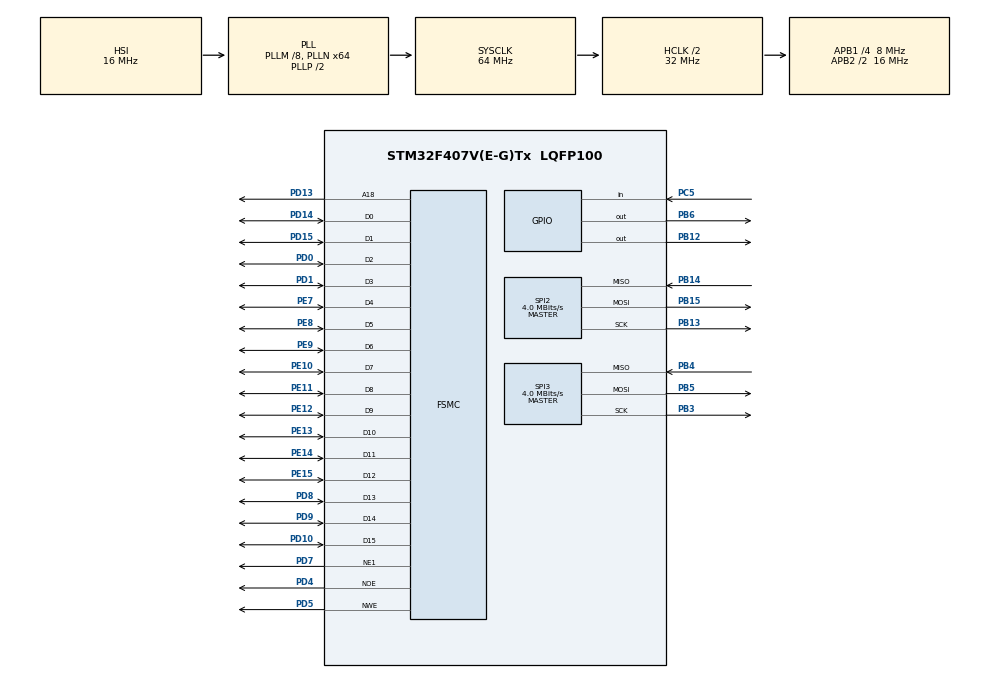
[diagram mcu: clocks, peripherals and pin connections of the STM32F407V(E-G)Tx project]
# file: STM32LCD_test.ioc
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FSMC.AddressSetupTime1=0
FSMC.BusTurnAroundDuration1=0
FSMC.DataSetupTime1=1
FSMC.WriteOperation1=FSMC_WRITE_OPERATION_ENABLE
Mcu.Family=STM32F4
Mcu.Name=STM32F407V(E-G)Tx
Mcu.Package=LQFP100
NVIC.PriorityGroup=NVIC_PRIORITYGROUP_4
PB12.Signal=GPIO_Output
PB13.Mode=Full_Duplex_Master
PB13.Signal=SPI2_SCK
PB14.Mode=Full_Duplex_Master
PB14.Signal=SPI2_MISO
PB15.Mode=Full_Duplex_Master
PB15.Signal=SPI2_MOSI
PB3.Mode=Full_Duplex_Master
PB3.Signal=SPI3_SCK
PB4.Mode=Full_Duplex_Master
PB4.Signal=SPI3_MISO
PB5.Mode=Full_Duplex_Master
PB5.Signal=SPI3_MOSI
PB6.Signal=GPIO_Output
PC14-OSC32_IN.Mode=LSE-External-Oscillator
PC14-OSC32_IN.Signal=RCC_OSC32_IN
PC15-OSC32_OUT.Mode=LSE-External-Oscillator
PC15-OSC32_OUT.Signal=RCC_OSC32_OUT
PC5.Signal=GPIO_Input
PD0.Mode=16b-d1
PD0.Signal=FSMC_D2
PD1.Mode=16b-d1
PD1.Signal=FSMC_D3
PD10.Mode=16b-d1
PD10.Signal=FSMC_D15
PD13.Mode=A18_1
PD13.Signal=FSMC_A18
PD14.Mode=16b-d1
PD14.Signal=FSMC_D0
PD15.Mode=16b-d1
PD15.Signal=FSMC_D1
PD4.Mode=Lcd1
PD4.Signal=FSMC_NOE
PD5.Mode=Lcd1
PD5.Signal=FSMC_NWE
PD7.Mode=NorPsramChipSelect1_1
PD7.Signal=FSMC_NE1
PD8.Mode=16b-d1
PD8.Signal=FSMC_D13
PD9.Mode=16b-d1
PD9.Signal=FSMC_D14
PE10.Mode=16b-d1
PE10.Signal=FSMC_D7
PE11.Mode=16b-d1
PE11.Signal=FSMC_D8
PE12.Mode=16b-d1
PE12.Signal=FSMC_D9
PE13.Mode=16b-d1
PE13.Signal=FSMC_D10
PE14.Mode=16b-d1
PE14.Signal=FSMC_D11
PE15.Mode=16b-d1
PE15.Signal=FSMC_D12
PE7.Mode=16b-d1
PE7.Signal=FSMC_D4
PE8.Mode=16b-d1
PE8.Signal=FSMC_D5
PE9.Mode=16b-d1
PE9.Signal=FSMC_D6
ProjectManager.HeapSize=0x200
ProjectManager.StackSize=0x400
ProjectManager.TargetToolchain=STM32CubeIDE
RCC.48MHZClocksFreq_Value=32000000
RCC.AHBCLKDivider=RCC_SYSCLK_DIV2
RCC.AHBFreq_Value=32000000
RCC.APB1CLKDivider=RCC_HCLK_DIV4
RCC.APB1Freq_Value=8000000
RCC.APB1TimFreq_Value=16000000
RCC.APB2CLKDivider=RCC_HCLK_DIV2
RCC.APB2Freq_Value=16000000
RCC.APB2TimFreq_Value=32000000
RCC.CortexFreq_Value=32000000
RCC.HCLKFreq_Value=32000000
RCC.HSE_VALUE=25000000
RCC.HSI_VALUE=16000000
RCC.PLLM=8
RCC.PLLN=64
RCC.RCC_RTC_Clock_Source=RCC_RTCCLKSOURCE_LSE
RCC.RCC_RTC_Clock_SourceVirtual=RCC_RTCCLKSOURCE_LSE
RCC.SYSCLKFreq_VALUE=64000000
RCC.SYSCLKSource=RCC_SYSCLKSOURCE_PLLCLK
RCC.VCOOutputFreq_Value=128000000
SPI2.BaudRatePrescaler=SPI_BAUDRATEPRESCALER_2
SPI2.CalculateBaudRate=4.0 MBits/s
SPI2.Direction=SPI_DIRECTION_2LINES
SPI2.Mode=SPI_MODE_MASTER
SPI2.VirtualType=VM_MASTER
SPI3.CalculateBaudRate=4.0 MBits/s
SPI3.Direction=SPI_DIRECTION_2LINES
SPI3.Mode=SPI_MODE_MASTER
SPI3.VirtualType=VM_MASTER
VP_RTC_VS_RTC_Activate.Mode=RTC_Enabled
VP_RTC_VS_RTC_Calendar.Mode=RTC_Calendar
board=custom

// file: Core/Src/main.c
/* USER CODE BEGIN Header */
/**
  ******************************************************************************
  * @file           : main.c
  * @brief          : Main program body
  ******************************************************************************
  * @attention
  *
  * Copyright (c) 2026 STMicroelectronics.
  * All rights reserved.
  *
  * This software is licensed under terms that can be found in the LICENSE file
  * in the root directory of this software component.
  * If no LICENSE file comes with this software, it is provided AS-IS.
  *
  ******************************************************************************
  */
/* USER CODE END Header */
#include "main.h"

/* USER CODE BEGIN Includes */
#include "display/ili9341.h"
#include "display/image.h"
#include "lvgl.h"
#include "lv_port_indev.h"
#include "lv_port_disp.h"
#include "ui.h"
#include "touch/xpt2046.h"
#include "serialmemory/w25qxx.h"
#include <stdio.h>
#include <string.h>

/* USER CODE END Includes */

/* USER CODE BEGIN PD */
#define PAGE_SIZE 4096
#define RUN_TESTS 1

/* USER CODE END PD */

RTC_HandleTypeDef hrtc;

SPI_HandleTypeDef hspi2;
SPI_HandleTypeDef hspi3;

SRAM_HandleTypeDef hsram1;

/* USER CODE BEGIN PV */

W25QXX_HandleTypeDef w25qxx; // Handler for all w25qxx operations!
/* USER CODE END PV */

void SystemClock_Config(void);
static void MX_GPIO_Init(void);
static void MX_FSMC_Init(void);
static void MX_SPI2_Init(void);
static void MX_RTC_Init(void);
static void MX_SPI3_Init(void);
/* USER CODE BEGIN PFP */
static void serialmempory_init(void);
static void rtc_set_datetime(void);
static void rtc_lvgl_timer_cb(lv_timer_t *timer);

void runTests(void);
void dump_hex(char *header, uint32_t start, uint8_t *buf, uint32_t len);
void fill_buffer(uint8_t pattern, uint8_t *buf, uint32_t len);

/* USER CODE END PFP */

/* USER CODE BEGIN 0 */
// Dump hex to serial console
void dump_hex(char *header, uint32_t start, uint8_t *buf, uint32_t len) {
    uint32_t i = 0;

    printf("%s\n", header);

    for (i = 0; i < len; ++i) {

        if (i % 16 == 0) {
            printf("0x%08lx: ", start);
        }

        printf("%02x ", buf[i]);

        if ((i + 1) % 16 == 0) {
            printf("\n");
        }

        ++start;
    }
}

void fill_buffer(uint8_t pattern, uint8_t *buf, uint32_t len) {
    switch (pattern) {
    case 0:
        memset(buf, 0, len);
        break;
    case 1:
        memset(buf, 0xaa, len); // 10101010
        break;
    case 2:
        for (uint32_t i = 0; i < len; ++i)
            buf[i] = i % 256;
        break;
    default:
        DBG("Programmer is a moron");
    }
}

uint8_t check_buffer(uint8_t pattern, uint8_t *buf, uint32_t len) {

    uint8_t ret = 1;

    switch (pattern) {
    case 0:
        for (uint32_t i = 0; i < len; ++i) {
            if (buf[i] != 0)
                ret = 0;
        }
        break;
    case 1:
        for (uint32_t i = 0; i < len; ++i) {
            if (buf[i] != 0xaa)
                ret = 0;
        }
        break;
    case 2:
        for (uint32_t i = 0; i < len; ++i) {
            if (buf[i] != i % 256)
                ret = 0;
        }
        break;
    default:
        DBG("Programmer is a moron");
    }

    return ret;
}

uint32_t get_sum(uint8_t *buf, uint32_t len) {
    uint32_t sum = 0;
    for (uint32_t i = 0; i < len; ++i) {
        sum += buf[i];
    }
    return sum;
}
void runTests(void) {
	  W25QXX_result_t res;

		HAL_Delay(2000);

		uint8_t buf[PAGE_SIZE]; // Buffer the size of a page

		for (uint8_t run = 0; run <= 2; ++run) {

			DBG("\n-------------\nRun %d\n", run);

			DBG("Reading first page");

			res = w25qxx_read(&w25qxx, 0, (uint8_t*) &buf, sizeof(buf));
			if (res == W25QXX_Ok) {
				dump_hex("First page at start", 0, (uint8_t*) &buf, sizeof(buf));
			} else {
				DBG("Unable to read w25qxx\n");
			}

			DBG("Erasing first page");
			if (w25qxx_erase(&w25qxx, 0, sizeof(buf)) == W25QXX_Ok) {
				DBG("Reading first page\n");
				if (w25qxx_read(&w25qxx, 0, (uint8_t*) &buf, sizeof(buf)) == W25QXX_Ok) {
					dump_hex("After erase", 0, (uint8_t*) &buf, sizeof(buf));
				}
			}

			// Create a well known pattern
			fill_buffer(run, buf, sizeof(buf));

			// Write it to device
			DBG("Writing first page\n");
			if (w25qxx_write(&w25qxx, 0, (uint8_t*) &buf, sizeof(buf)) == W25QXX_Ok) {
				// now read it back
				DBG("Reading first page\n");
				if (w25qxx_read(&w25qxx, 0, (uint8_t*) &buf, sizeof(buf)) == W25QXX_Ok) {
					//DBG("  - sum = %lu", get_sum(buf, 256));
					dump_hex("After write", 0, (uint8_t*) &buf, sizeof(buf));
				}
			}
		}

		// Let's do a stress test
		uint32_t start;
		uint32_t sectors = w25qxx.block_count * w25qxx.sectors_in_block; // Entire chip

		DBG("Stress testing w25qxx device: sectors = %lu\n", sectors);

		DBG("Doing chip erase\n");
		start = HAL_GetTick();
		w25qxx_chip_erase(&w25qxx);
		DBG("Done erasing - took %lu ms\n", HAL_GetTick() - start);

		fill_buffer(0, buf, sizeof(buf));

		DBG("Writing all zeroes %lu sectors\n", sectors);
		start = HAL_GetTick();
		for (uint32_t i = 0; i < sectors; ++i) {
			w25qxx_write(&w25qxx, i * w25qxx.sector_size, buf, sizeof(buf));
		}
		DBG("Done writing - took %lu ms\n", HAL_GetTick() - start);

		DBG("Reading %lu sectors\n", sectors);
		start = HAL_GetTick();
		for (uint32_t i = 0; i < sectors; ++i) {
			w25qxx_read(&w25qxx, i * w25qxx.sector_size, buf, sizeof(buf));
		}
		DBG("Done reading - took %lu ms\n", HAL_GetTick() - start);

		DBG("Validating buffer .... ");
		if (check_buffer(0, buf, sizeof(buf))) {
			DBG("OK\n");
		} else {
			DBG("Not OK\n");
		}

		DBG("Doing chip erase\n");
		start = HAL_GetTick();
		w25qxx_chip_erase(&w25qxx);
		DBG("Done erasing - took %lu ms\n", HAL_GetTick() - start);

		fill_buffer(1, buf, sizeof(buf));

		DBG("Writing 10101010 (0xaa) %lu sectors\n", sectors);
		start = HAL_GetTick();
		for (uint32_t i = 0; i < sectors; ++i) {
			w25qxx_write(&w25qxx, i * w25qxx.sector_size, buf, sizeof(buf));
		}
		DBG("Done writing - took %lu ms\n", HAL_GetTick() - start);

		DBG("Reading %lu sectors\n", sectors);
		start = HAL_GetTick();
		for (uint32_t i = 0; i < sectors; ++i) {
			w25qxx_read(&w25qxx, i * w25qxx.sector_size, buf, sizeof(buf));
		}
		DBG("Done reading - took %lu ms\n", HAL_GetTick() - start);

		DBG("Validating buffer ... ");
		if (check_buffer(1, buf, sizeof(buf))) {
			DBG("OK\n");
		} else {
			DBG("Not OK\n");
		}

		DBG("Erasing %lu sectors sequentially\n", sectors);
		start = HAL_GetTick();
		for (uint32_t i = 0; i < sectors; ++i) {
			w25qxx_erase(&w25qxx, i * w25qxx.sector_size, sizeof(buf));
			if ((i > 0) && (i % 100 == 0)) {
				DBG("Done %4lu sectors - total time = %3lu s\n", i, (HAL_GetTick() - start) / 1000);
			}
		}
		DBG("Done erasing - took %lu ms\n", HAL_GetTick() - start);

}
static void serialmempory_initr(void)
{
	char readBuffer[PAGE_SIZE] = {0x00};
	  W25QXX_result_t res;

	  res = w25qxx_init(&w25qxx, &hspi3, SPI3_CS_GPIO_Port, SPI3_CS_Pin);
	  if (res == W25QXX_Ok) {
		  DBG("W25QXX successfully initialized\n");
		  DBG("Manufacturer       = 0x%2x\n", w25qxx.manufacturer_id);
		  DBG("Device             = 0x%4x\n", w25qxx.device_id);
		  DBG("Block size         = 0x%04lx (%lu)\n", w25qxx.block_size, w25qxx.block_size);
		  DBG("Block count        = 0x%04lx (%lu)\n", w25qxx.block_count, w25qxx.block_count);
		  DBG("Sector size        = 0x%04lx (%lu)\n", w25qxx.sector_size, w25qxx.sector_size);
		  DBG("Sectors per block  = 0x%04lx (%lu)\n", w25qxx.sectors_in_block, w25qxx.sectors_in_block);
		  DBG("Page size          = 0x%04lx (%lu)\n", w25qxx.page_size, w25qxx.page_size);
		  DBG("Pages per sector   = 0x%04lx (%lu)\n", w25qxx.pages_in_sector, w25qxx.pages_in_sector);
		  DBG("Total size (in kB) = 0x%04lx (%lu)\n",
				  (w25qxx.block_count * w25qxx.block_size) / 1024, (w25qxx.block_count * w25qxx.block_size) / 1024);
		  DBG("Total size (in Bytes) = 0x%04lx (%lu)\n",
				  (w25qxx.block_count * w25qxx.block_size), (w25qxx.block_count * w25qxx.block_size));
	  } else {
		  DBG("Unable to initialize w25qxx\n");
	  }

	#ifdef RUN_TESTS
	  runTests();
	#else
	#define PARAGRAPH small_paragraph

	  int len = strlen(PARAGRAPH);

	  res = w25qxx_write(&w25qxx, (uint32_t) 0x02321, (uint8_t *) PARAGRAPH, len);

	  if (res != W25QXX_Ok) {
		  Error_Handler();
	  } else {
		  printf("No Errors! Completed writing %d bytes of small paragraph!\r\n", len);
	  }

	  res = w25qxx_read(&w25qxx, (uint32_t) 0x02321, (uint8_t *) &readBuffer, len);

	  if (res != W25QXX_Ok) {
		  Error_Handler();
	  } else {
		  printf("No Errors! Completed reading %d bytes of memory containing small paragraph!\r\n\r\n", len);
		  printf(readBuffer);
		  fflush(stdout);
	  }
	#endif
}
static void rtc_set_datetime()
{
	RTC_TimeTypeDef sTime = {0};
	RTC_DateTypeDef sDate = {0};

	sTime.Hours = 13;
	sTime.Minutes = 33;
	sTime.Seconds = 32;
	sTime.DayLightSaving = RTC_DAYLIGHTSAVING_NONE;
	sTime.StoreOperation = RTC_STOREOPERATION_RESET;
	if (HAL_RTC_SetTime(&hrtc, &sTime, RTC_FORMAT_BIN) != HAL_OK)
	{
		Error_Handler();
	}

	sDate.WeekDay = RTC_WEEKDAY_FRIDAY;
	sDate.Month = RTC_MONTH_JANUARY;
	sDate.Date = 16;
	sDate.Year = 26;

	if (HAL_RTC_SetDate(&hrtc, &sDate, RTC_FORMAT_BIN) != HAL_OK)
	{
		Error_Handler();
	}
}
static void rtc_lvgl_timer_cb(lv_timer_t *timer)
{
    RTC_TimeTypeDef time;
    RTC_DateTypeDef date;
    char buf[32];

    /* OBRIGATÓRIO: primeiro Time, depois Date */
    HAL_RTC_GetTime(&hrtc, &time, RTC_FORMAT_BIN);
    HAL_RTC_GetDate(&hrtc, &date, RTC_FORMAT_BIN);

    snprintf(buf, sizeof(buf),
             "%02d/%02d/20%02d  %02d:%02d:%02d",
             date.Date,
             date.Month,
             date.Year,
             time.Hours,
             time.Minutes,
             time.Seconds);

    lv_label_set_text(objects.lb_name, buf);
}
void action_cmd_main_clicked(lv_event_t * event)
{
	lv_label_set_text(objects.lb_name,  "Clicked");
	printf("Clicked\n");
}

/* USER CODE END 0 */

int main(void)
{

  /* USER CODE BEGIN 1 */
  uint16_t x = 0, y = 0;
  /* USER CODE END 1 */

  /* MCU Configuration--------------------------------------------------------*/

  /* Reset of all peripherals, Initializes the Flash interface and the Systick. */
  HAL_Init();

  /* Configure the system clock */
  SystemClock_Config();

  /* Initialize all configured peripherals */
  MX_GPIO_Init();
  MX_FSMC_Init();
  MX_SPI2_Init();
  MX_RTC_Init();
  MX_SPI3_Init();
  /* USER CODE BEGIN 2 */
  /* Turn ON backlight (PB1) */
  LCD_BL_ON();

  lcdInit();
  lcdSetOrientation(LCD_ORIENTATION_LANDSCAPE);

  lv_init();
  lv_tick_set_cb(HAL_GetTick);

  lv_port_disp_init();
  lv_port_indev_init();

  lv_timer_create(rtc_lvgl_timer_cb, 1000, NULL);
  //Set date time here the first time
  //rtc_set_datetime();

  ui_init();
  //lcdTest();
  /* USER CODE END 2 */

  /* Infinite loop */
  while (1)
  {

    /* USER CODE BEGIN 3 */

	//lv_label_set_text(objects.lb_name,  "STM32 LVGL EEZ Studio");
	//lv_slider_set_value(objects.slidder_main,100,LV_ANIM_OFF);
	uint32_t time_till_next = lv_timer_handler();
	//if(time_till_next == LV_NO_TIMER_READY) time_till_next = LV_DEF_REFR_PERIOD; /*handle LV_NO_TIMER_READY. Another option is to `sleep` for longer*/
	HAL_Delay(time_till_next);

  }
  /* USER CODE END 3 */
}

void SystemClock_Config(void)
{
  RCC_OscInitTypeDef RCC_OscInitStruct = {0};
  RCC_ClkInitTypeDef RCC_ClkInitStruct = {0};

  /** Configure the main internal regulator output voltage
  */
  __HAL_RCC_PWR_CLK_ENABLE();
  __HAL_PWR_VOLTAGESCALING_CONFIG(PWR_REGULATOR_VOLTAGE_SCALE1);

  /** Initializes the RCC Oscillators according to the specified parameters
  * in the RCC_OscInitTypeDef structure.
  */
  RCC_OscInitStruct.OscillatorType = RCC_OSCILLATORTYPE_HSI|RCC_OSCILLATORTYPE_LSE;
  RCC_OscInitStruct.LSEState = RCC_LSE_ON;
  RCC_OscInitStruct.HSIState = RCC_HSI_ON;
  RCC_OscInitStruct.HSICalibrationValue = RCC_HSICALIBRATION_DEFAULT;
  RCC_OscInitStruct.PLL.PLLState = RCC_PLL_ON;
  RCC_OscInitStruct.PLL.PLLSource = RCC_PLLSOURCE_HSI;
  RCC_OscInitStruct.PLL.PLLM = 8;
  RCC_OscInitStruct.PLL.PLLN = 64;
  RCC_OscInitStruct.PLL.PLLP = RCC_PLLP_DIV2;
  RCC_OscInitStruct.PLL.PLLQ = 4;
  if (HAL_RCC_OscConfig(&RCC_OscInitStruct) != HAL_OK)
  {
    Error_Handler();
  }

  /** Initializes the CPU, AHB and APB buses clocks
  */
  RCC_ClkInitStruct.ClockType = RCC_CLOCKTYPE_HCLK|RCC_CLOCKTYPE_SYSCLK
                              |RCC_CLOCKTYPE_PCLK1|RCC_CLOCKTYPE_PCLK2;
  RCC_ClkInitStruct.SYSCLKSource = RCC_SYSCLKSOURCE_PLLCLK;
  RCC_ClkInitStruct.AHBCLKDivider = RCC_SYSCLK_DIV2;
  RCC_ClkInitStruct.APB1CLKDivider = RCC_HCLK_DIV4;
  RCC_ClkInitStruct.APB2CLKDivider = RCC_HCLK_DIV2;

  if (HAL_RCC_ClockConfig(&RCC_ClkInitStruct, FLASH_LATENCY_1) != HAL_OK)
  {
    Error_Handler();
  }
}

static void MX_RTC_Init(void)
{

  RTC_TimeTypeDef sTime = {0};
  RTC_DateTypeDef sDate = {0};

  /** Initialize RTC Only
  */
  hrtc.Instance = RTC;
  hrtc.Init.HourFormat = RTC_HOURFORMAT_24;
  hrtc.Init.AsynchPrediv = 127;
  hrtc.Init.SynchPrediv = 255;
  hrtc.Init.OutPut = RTC_OUTPUT_DISABLE;
  hrtc.Init.OutPutPolarity = RTC_OUTPUT_POLARITY_HIGH;
  hrtc.Init.OutPutType = RTC_OUTPUT_TYPE_OPENDRAIN;
  if (HAL_RTC_Init(&hrtc) != HAL_OK)
  {
    Error_Handler();
  }

  /** Initialize RTC and set the Time and Date
  */
  sTime.Hours = 0x0;
  sTime.Minutes = 0x0;
  sTime.Seconds = 0x0;
  sTime.DayLightSaving = RTC_DAYLIGHTSAVING_NONE;
  sTime.StoreOperation = RTC_STOREOPERATION_RESET;
  if (HAL_RTC_SetTime(&hrtc, &sTime, RTC_FORMAT_BCD) != HAL_OK)
  {
    Error_Handler();
  }
  sDate.WeekDay = RTC_WEEKDAY_MONDAY;
  sDate.Month = RTC_MONTH_JANUARY;
  sDate.Date = 0x1;
  sDate.Year = 0x0;

  if (HAL_RTC_SetDate(&hrtc, &sDate, RTC_FORMAT_BCD) != HAL_OK)
  {
    Error_Handler();
  }

}

static void MX_SPI2_Init(void)
{

  /* SPI2 parameter configuration*/
  hspi2.Instance = SPI2;
  hspi2.Init.Mode = SPI_MODE_MASTER;
  hspi2.Init.Direction = SPI_DIRECTION_2LINES;
  hspi2.Init.DataSize = SPI_DATASIZE_8BIT;
  hspi2.Init.CLKPolarity = SPI_POLARITY_LOW;
  hspi2.Init.CLKPhase = SPI_PHASE_1EDGE;
  hspi2.Init.NSS = SPI_NSS_SOFT;
  hspi2.Init.BaudRatePrescaler = SPI_BAUDRATEPRESCALER_2;
  hspi2.Init.FirstBit = SPI_FIRSTBIT_MSB;
  hspi2.Init.TIMode = SPI_TIMODE_DISABLE;
  hspi2.Init.CRCCalculation = SPI_CRCCALCULATION_DISABLE;
  hspi2.Init.CRCPolynomial = 10;
  if (HAL_SPI_Init(&hspi2) != HAL_OK)
  {
    Error_Handler();
  }

}

static void MX_SPI3_Init(void)
{

  /* SPI3 parameter configuration*/
  hspi3.Instance = SPI3;
  hspi3.Init.Mode = SPI_MODE_MASTER;
  hspi3.Init.Direction = SPI_DIRECTION_2LINES;
  hspi3.Init.DataSize = SPI_DATASIZE_8BIT;
  hspi3.Init.CLKPolarity = SPI_POLARITY_LOW;
  hspi3.Init.CLKPhase = SPI_PHASE_1EDGE;
  hspi3.Init.NSS = SPI_NSS_SOFT;
  hspi3.Init.BaudRatePrescaler = SPI_BAUDRATEPRESCALER_2;
  hspi3.Init.FirstBit = SPI_FIRSTBIT_MSB;
  hspi3.Init.TIMode = SPI_TIMODE_DISABLE;
  hspi3.Init.CRCCalculation = SPI_CRCCALCULATION_DISABLE;
  hspi3.Init.CRCPolynomial = 10;
  if (HAL_SPI_Init(&hspi3) != HAL_OK)
  {
    Error_Handler();
  }

}

static void MX_GPIO_Init(void)
{
  GPIO_InitTypeDef GPIO_InitStruct = {0};

  /* GPIO Ports Clock Enable */
  __HAL_RCC_GPIOC_CLK_ENABLE();
  __HAL_RCC_GPIOE_CLK_ENABLE();
  __HAL_RCC_GPIOB_CLK_ENABLE();
  __HAL_RCC_GPIOD_CLK_ENABLE();

  /*Configure GPIO pin Output Level */
  HAL_GPIO_WritePin(GPIOB, GPIO_PIN_12|GPIO_PIN_6, GPIO_PIN_RESET);

  /*Configure GPIO pin : PC5 */
  GPIO_InitStruct.Pin = GPIO_PIN_5;
  GPIO_InitStruct.Mode = GPIO_MODE_INPUT;
  GPIO_InitStruct.Pull = GPIO_NOPULL;
  HAL_GPIO_Init(GPIOC, &GPIO_InitStruct);

  /*Configure GPIO pins : PB12 PB6 */
  GPIO_InitStruct.Pin = GPIO_PIN_12|GPIO_PIN_6;
  GPIO_InitStruct.Mode = GPIO_MODE_OUTPUT_PP;
  GPIO_InitStruct.Pull = GPIO_NOPULL;
  GPIO_InitStruct.Speed = GPIO_SPEED_FREQ_LOW;
  HAL_GPIO_Init(GPIOB, &GPIO_InitStruct);

  /* USER CODE BEGIN MX_GPIO_Init_2 */
  //GPIO_InitTypeDef GPIO_InitStruct = {0};
  GPIO_InitStruct.Pin = GPIO_PIN_1;
  GPIO_InitStruct.Mode = GPIO_MODE_OUTPUT_PP;
  GPIO_InitStruct.Pull = GPIO_NOPULL;
  GPIO_InitStruct.Speed = GPIO_SPEED_FREQ_LOW;
  HAL_GPIO_Init(GPIOB, &GPIO_InitStruct);
  /* USER CODE END MX_GPIO_Init_2 */
}

/* FSMC initialization function */
static void MX_FSMC_Init(void)
{

  FSMC_NORSRAM_TimingTypeDef Timing = {0};

  /** Perform the SRAM1 memory initialization sequence
  */
  hsram1.Instance = FSMC_NORSRAM_DEVICE;
  hsram1.Extended = FSMC_NORSRAM_EXTENDED_DEVICE;
  /* hsram1.Init */
  hsram1.Init.NSBank = FSMC_NORSRAM_BANK1;
  hsram1.Init.DataAddressMux = FSMC_DATA_ADDRESS_MUX_DISABLE;
  hsram1.Init.MemoryType = FSMC_MEMORY_TYPE_SRAM;
  hsram1.Init.MemoryDataWidth = FSMC_NORSRAM_MEM_BUS_WIDTH_16;
  hsram1.Init.BurstAccessMode = FSMC_BURST_ACCESS_MODE_DISABLE;
  hsram1.Init.WaitSignalPolarity = FSMC_WAIT_SIGNAL_POLARITY_LOW;
  hsram1.Init.WrapMode = FSMC_WRAP_MODE_DISABLE;
  hsram1.Init.WaitSignalActive = FSMC_WAIT_TIMING_BEFORE_WS;
  hsram1.Init.WriteOperation = FSMC_WRITE_OPERATION_ENABLE;
  hsram1.Init.WaitSignal = FSMC_WAIT_SIGNAL_DISABLE;
  hsram1.Init.ExtendedMode = FSMC_EXTENDED_MODE_DISABLE;
  hsram1.Init.AsynchronousWait = FSMC_ASYNCHRONOUS_WAIT_DISABLE;
  hsram1.Init.WriteBurst = FSMC_WRITE_BURST_DISABLE;
  hsram1.Init.PageSize = FSMC_PAGE_SIZE_NONE;
  /* Timing */
  Timing.AddressSetupTime = 0;
  Timing.AddressHoldTime = 15;
  Timing.DataSetupTime = 1;
  Timing.BusTurnAroundDuration = 0;
  Timing.CLKDivision = 16;
  Timing.DataLatency = 17;
  Timing.AccessMode = FSMC_ACCESS_MODE_A;
  /* ExtTiming */

  if (HAL_SRAM_Init(&hsram1, &Timing, NULL) != HAL_OK)
  {
    Error_Handler( );
  }

}

void Error_Handler(void)
{
  __disable_irq();
  while (1)
  {
  }
}
